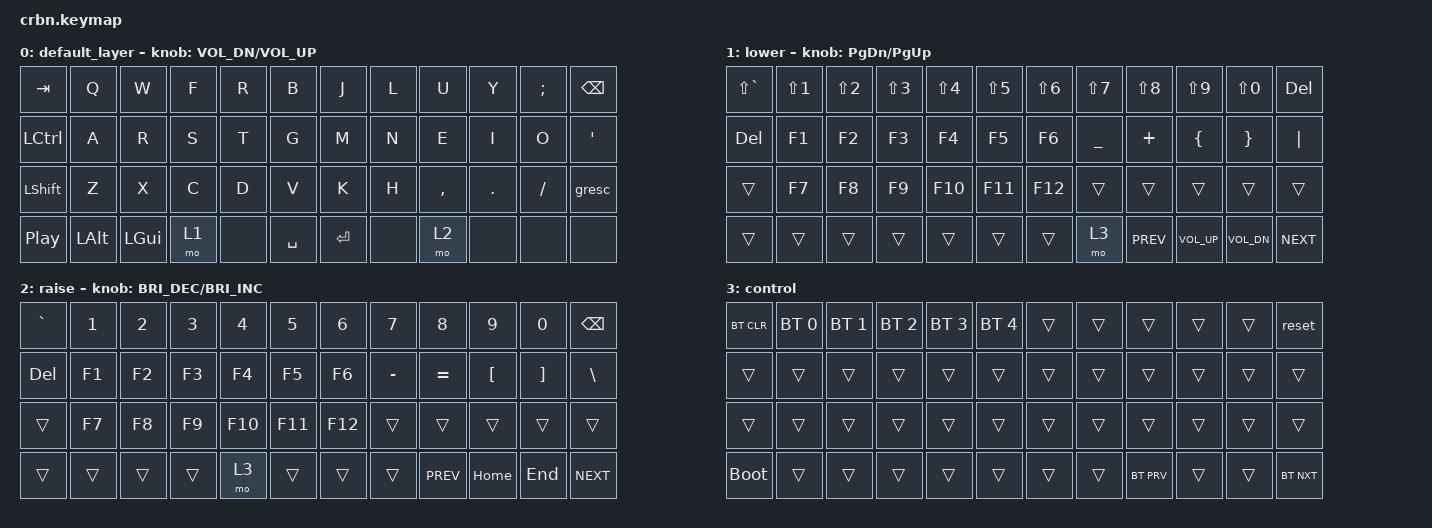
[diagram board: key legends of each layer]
/*
 * Copyright (c) 2020 The ZMK Contributors
 *
 * SPDX-License-Identifier: MIT
 */

#include <behaviors.dtsi>
#include <dt-bindings/zmk/keys.h>
#include <dt-bindings/zmk/bt.h>

/ {
	keymap {
		compatible = "zmk,keymap";

		default_layer {
				// -----------------------------------------------------------------------------------------
				// | TAB   |  Q   |  W   |  F   |  P   |  B   |   J   |  L    |  U   |  Y   |   ;   | BSPC  |
				// | LCTL  |  A   |  R   |  S   |  T   |  G   |   M   |  N    |  E   |  I   |   O   |  '    |
				// | SHIFT |  Z   |  X   |  C   |  D   |  V   |   K   |  H    |  ,   |  .   |   /   | ESC/~ |
				// | PLAY  | LALT | LGUI | LOWR |    SPACE    |      RET      | RAIS |      |       |       |
			bindings = <
				&kp TAB    &kp Q    &kp W &kp F &kp R &kp B  &kp J   &kp L  &kp U    &kp Y   &kp SEMI &kp BSPC
				&kp LCTRL  &kp A    &kp R &kp S &kp T &kp G  &kp M   &kp N  &kp E    &kp I   &kp O    &kp SQT
				&kp LSHFT  &kp Z    &kp X &kp C &kp D &kp V  &kp K   &kp H  &kp COMMA &kp DOT &kp FSLH &gresc
				&kp C_PP   &kp LALT &kp LGUI &mo 1 &none &kp SPACE &kp RET &none &mo 2 &none   &none   &none
			>;

			sensor-bindings = <&inc_dec_kp C_VOL_DN C_VOL_UP>;
		};

		lower {
			bindings = <
				&kp LS(GRAVE) &kp LS(N1) &kp LS(N2) &kp LS(N3) &kp LS(N4) &kp LS(N5) &kp LS(N6) &kp LS(N7) &kp LS(N8) &kp LS(N9) &kp LS(N0) &kp DEL
				&kp DEL &kp F1 &kp F2 &kp F3 &kp F4 &kp F5 &kp F6 &kp UNDER &kp PLUS &kp LBRC &kp RBRC &kp PIPE
				&trans &kp F7 &kp F8 &kp F9 &kp F10 &kp F11 &kp F12 &trans &trans &trans &trans &trans
				&trans &trans &trans &trans &trans &trans &trans &mo 3 &kp C_PREV &kp C_VOL_UP &kp C_VOL_DN &kp C_NEXT
			>;

			sensor-bindings = <&inc_dec_kp PG_DN PG_UP>;
		};

		raise {
			bindings = <
				&kp GRAVE &kp N1 &kp N2 &kp N3 &kp N4 &kp N5 &kp N6 &kp N7 &kp N8 &kp N9 &kp N0 &kp BSPC
				&kp DEL &kp F1 &kp F2 &kp F3 &kp F4 &kp F5 &kp F6 &kp MINUS &kp EQUAL &kp LBKT &kp RBKT &kp BSLH
				&trans &kp F7 &kp F8 &kp F9 &kp F10 &kp F11 &kp F12 &trans &trans &trans &trans &trans
				&trans &trans &trans &trans &mo 3 &trans &trans &trans &kp C_PREV &kp HOME &kp END &kp C_NEXT
			>;
			
			sensor-bindings = <&inc_dec_kp C_BRI_DEC C_BRI_INC>;
		};
		
		control {
			bindings = <
				&bt BT_CLR &bt BT_SEL 0 &bt BT_SEL 1 &bt BT_SEL 2 &bt BT_SEL 3 &bt BT_SEL 4 &trans &trans &trans &trans &trans &reset
				&trans &trans &trans &trans &trans &trans &trans &trans &trans &trans &trans &trans
				&trans &trans &trans &trans &trans &trans &trans &trans &trans &trans &trans &trans
				&bootloader &trans &trans &trans &trans &trans &trans &trans &bt BT_PRV &trans &trans &bt BT_NXT
			>;
		};
	};
};
